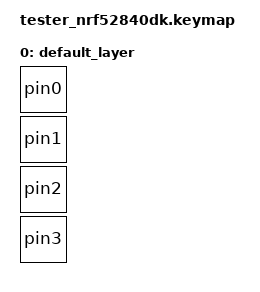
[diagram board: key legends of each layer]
#include <behaviors.dtsi>
#include <dt-bindings/zmk/keys.h>

#define PIN_MACRO(name, pin) \
/ { \
    macros { \
        name: name { \
            compatible = "zmk,behavior-macro"; \
            wait-ms = <5>; \
            tap-ms = <5>; \
            #binding-cells = <0>; \
            bindings = <&kp P &kp I &kp N &kp SPACE>, pin, <&kp ENTER>; \
        }; \
    }; \
};

PIN_MACRO(pin0, <&kp N0>)
PIN_MACRO(pin1, <&kp N1>)
PIN_MACRO(pin2, <&kp N2>)
PIN_MACRO(pin3, <&kp N3>)

/ {
    keymap {
        compatible = "zmk,keymap";

        default_layer {
            bindings = <&pin0
                        &pin1
                        &pin2
                        &pin3>;
        };
    };
};
